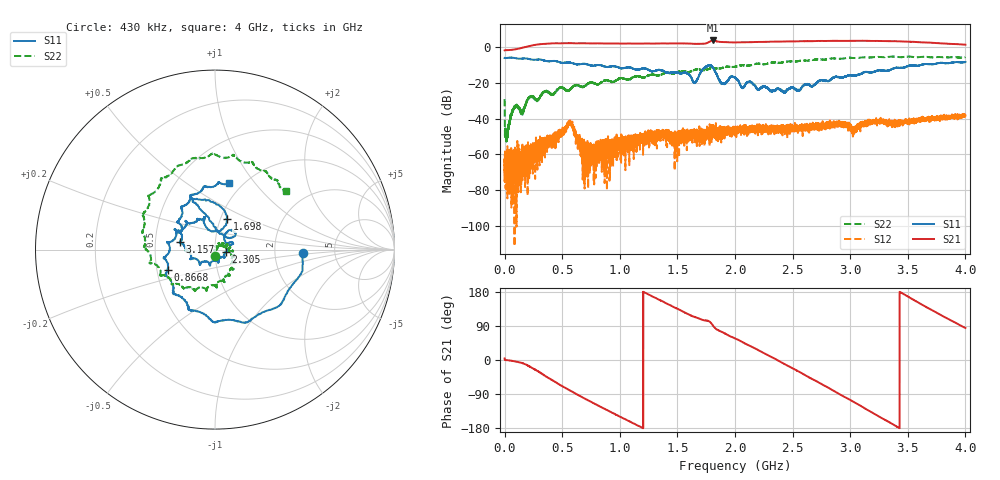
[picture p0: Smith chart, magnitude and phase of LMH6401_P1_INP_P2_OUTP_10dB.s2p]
!Keysight Technologies N9917A: A.08.18
!Date: Saturday, 27 May 2023 16:37:40
!Timezone: (GMT-07:00) Mountain Time (US & Canada)
!Model: N9917A
!Serial: MY52401314
!GPS Latitude:
!GPS Longitude:
!GPS TimeStamp: 0001-01-01 00:00:00Z
!GPS Seconds Since Last Read: 0
!CHECKSUM:1471271935
!Correction: S11(ON U)S21(ON U)S12(ON U)S22(ON U)
!S2P File: Measurements:S11,S21,S12,S22:
# Hz S DB R 50
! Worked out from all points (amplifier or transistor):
!   10000 points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, 430 kHz to 4 GHz, reference 50 ohm
!   highest |S21| = 3.6 dB at 1.807 GHz (marker M1)
!   |S21| within 3 dB of that: 224.7 MHz to end of sweep
!   unconditionally stable (mu >= 1): start of sweep to end of sweep
!   at 666.8 MHz: K = 180.42, MAG = 2.5 dB, |S12| = -54.2 dB
!   at 2 GHz: K = 77.21, MAG = 2.9 dB, |S12| = -47.1 dB
!   at 4 GHz: K = 22.10, MAG = 3.3 dB, |S12| = -38.2 dB
!   S11 on the Smith chart (normalised r, x): 430 kHz: 2.90, -0.15; 866.8 MHz: 0.57, -0.14; 1.698 GHz: 1.08, +0.38; 2.305 GHz: 1.13, -0.03; 3.157 GHz: 0.67, +0.06; 4 GHz: 0.87, +0.75
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429997  -6.23 -2.3  -1.94 4.2  -62.54 69.0  -29.17 -94.5
2.242983e7  -6.20 -6.2  -1.83 -0.4  -67.14 -176.7  -47.36 -102.2
9.202931e7  -6.32 -20.3  -1.39 -3.9  -60.98 83.0  -33.45 61.4
2.944278e8  -7.11 -65.3  1.37 -30.4  -52.00 86.5  -29.37 38.6
5.640258e8  -8.77 -114.0  2.07 -79.9  -43.34 -20.7  -24.05 6.0
6.67225e8  -9.67 -131.2  2.01 -97.0  -61.34 -81.7  -22.40 7.1
7.100247e8  -9.68 -134.8  1.97 -104.2  -57.07 -66.0  -21.34 -7.5
8.668235e8  -10.85 -157.2  1.88 -128.6  -59.02 -31.1  -18.87 -20.9
1.099222e9  -11.66 170.9  1.84 -164.2  -49.58 -21.8  -17.69 -46.6
1.33362e9  -12.82 135.6  1.87 160.0  -51.97 -80.8  -15.92 -67.8
1.648418e9  -19.79 91.7  1.68 113.8  -47.19 -100.7  -12.91 -102.3
1.698417e9  -14.76 68.3  1.68 107.9  -52.30 -110.0  -12.72 -102.7
1.806816e9  -11.60 112.6  3.56 91.7  -47.54 -100.9  -11.76 -115.9
1.891216e9  -20.44 64.8  2.68 73.3  -48.39 -130.9  -11.65 -126.2
2.000415e9  -16.99 51.3  2.46 57.0  -47.12 -139.2  -11.05 -136.5
2.305213e9  -24.21 -14.0  2.86 9.8  -46.62 -165.2  -8.97 -167.6
2.66681e9  -21.98 -120.4  3.17 -49.6  -45.58 173.8  -7.45 157.4
2.900808e9  -17.04 -160.5  3.33 -89.0  -43.41 131.5  -6.68 136.4
3.156806e9  -14.02 167.2  3.32 -133.0  -41.49 111.2  -5.88 111.2
3.333605e9  -13.15 146.2  3.15 -163.1  -43.97 77.1  -5.63 93.8
3.681202e9  -9.70 112.0  2.35 136.2  -40.97 44.1  -5.74 64.8
4e9  -8.44 77.7  1.21 84.5  -38.21 9.9  -5.75 39.3
